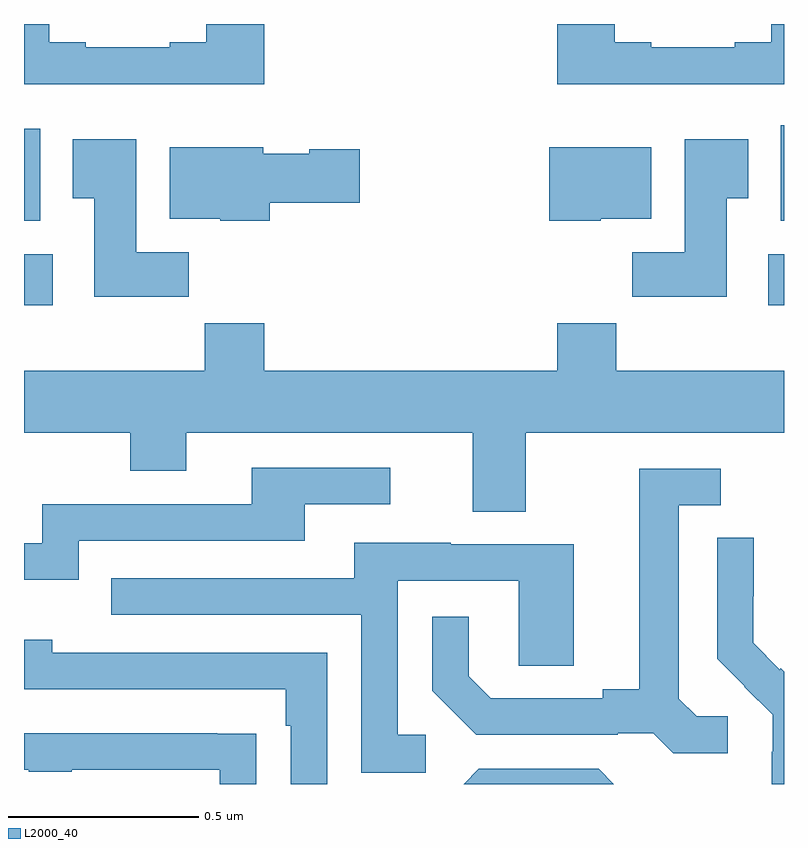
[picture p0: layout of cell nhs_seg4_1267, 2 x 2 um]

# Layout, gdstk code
import gdstk
lib = gdstk.Library(unit=1e-6, precision=1e-09)
def R(c, l, rs):  # rectangles x0, y0, x1, y1
    for r in rs: c.add(gdstk.rectangle(r[:2], r[2:], *l))
def P(c, l, *ps):  # polygons
    for p in ps: c.add(gdstk.Polygon(p, *l))
L2000_40 = (2000, 40)

nhs_seg4_1267 = lib.new_cell('nhs_seg4_1267')
R(nhs_seg4_1267, L2000_40, [(126,793.16,126.076,793.294), (127.959,793.16,128,793.294), (126,793.382,126.043,793.624), (127.991,793.382,128,793.633)])
P(nhs_seg4_1267, L2000_40, [(128,793.9),(127.967,793.9),(127.967,793.852),(127.871,793.852),(127.871,793.839),(127.651,793.839),(127.651,793.852),(127.555,793.852),(127.555,793.9),(127.403,793.9),(127.403,793.742),(128,793.742)],
  [(126.632,793.9),(126.479,793.9),(126.479,793.852),(126.383,793.852),(126.383,793.839),(126.163,793.839),(126.163,793.852),(126.067,793.852),(126.067,793.9),(126,793.9),(126,793.742),(126.632,793.742)],
  [(127.849,793.441),(127.906,793.441),(127.906,793.597),(127.739,793.597),(127.739,793.3),(127.6,793.3),(127.6,793.182),(127.849,793.182)],
  [(126.434,793.3),(126.295,793.3),(126.295,793.597),(126.128,793.597),(126.128,793.441),(126.185,793.441),(126.185,793.182),(126.434,793.182)],
  [(127.518,793.388),(127.651,793.388),(127.651,793.576),(127.382,793.576),(127.382,793.382),(127.518,793.382)],
  [(126.647,793.429),(126.883,793.429),(126.883,793.571),(126.75,793.571),(126.75,793.558),(126.63,793.558),(126.63,793.576),(126.383,793.576),(126.383,793.388),(126.516,793.388),(126.516,793.382),(126.647,793.382)],
  [(127.321,792.824),(128,792.824),(128,792.988),(127.559,792.988),(127.559,793.112),(127.403,793.112),(127.403,792.988),(126.632,792.988),(126.632,793.112),(126.475,793.112),(126.475,792.988),(126,792.988),(126,792.824),(126.28,792.824),(126.28,792.725),(126.427,792.725),(126.427,792.824),(127.181,792.824),(127.181,792.616),(127.321,792.616)],
  [(126.144,792.54),(126.739,792.54),(126.739,792.636),(126.964,792.636),(126.964,792.732),(126.599,792.732),(126.599,792.636),(126.048,792.636),(126.048,792.534),(126,792.534),(126,792.437),(126.144,792.437)],
  [(127.852,792.078),(127.77,792.078),(127.723,792.125),(127.723,792.633),(127.834,792.633),(127.834,792.729),(127.619,792.729),(127.619,792.149),(127.523,792.149),(127.523,792.126),(127.228,792.126),(127.171,792.183),(127.171,792.34),(127.074,792.34),(127.074,792.146),(127.19,792.03),(127.562,792.03),(127.562,792.033),(127.656,792.033),(127.708,791.981),(127.852,791.981)],
  [(128,792.196),(127.992,792.204),(127.989,792.201),(127.919,792.272),(127.919,792.394),(127.92,792.394),(127.92,792.548),(127.824,792.548),(127.824,792.23),(127.897,792.157),(127.896,792.156),(127.97,792.082),(127.97,791.985),(127.968,791.985),(127.968,791.9),(128,791.9)],
  [(127.057,792.03),(126.984,792.03),(126.984,792.435),(127.302,792.435),(127.302,792.211),(127.447,792.211),(127.447,792.531),(127.123,792.531),(127.123,792.535),(126.869,792.535),(126.869,792.441),(126.229,792.441),(126.229,792.345),(126.888,792.345),(126.888,791.929),(127.057,791.929)],
  [(126.798,792.246),(126.074,792.246),(126.074,792.28),(126,792.28),(126,792.15),(126.689,792.15),(126.689,792.053),(126.702,792.053),(126.702,791.9),(126.798,791.9)],
  [(126.611,792.032),(126.509,792.032),(126.509,792.033),(126,792.033),(126,791.937),(126.013,791.937),(126.013,791.932),(126.125,791.932),(126.125,791.937),(126.515,791.937),(126.515,791.9),(126.611,791.9)],
  [(127.512,791.94),(127.197,791.94),(127.157,791.9),(127.552,791.9)])

lib.write_gds('nhs_seg4_1267.gds')
